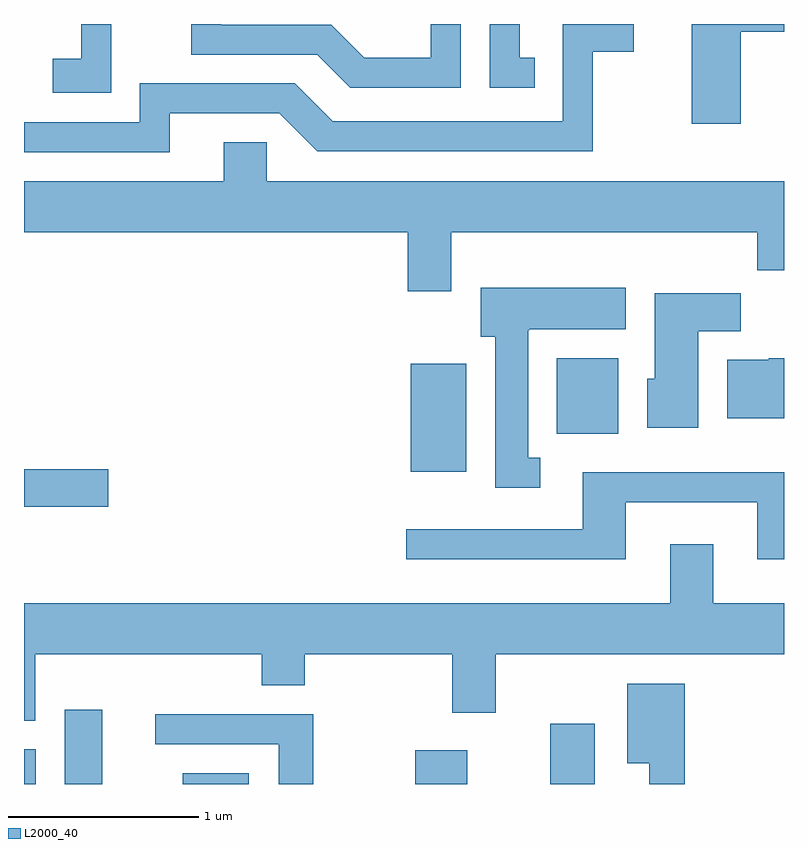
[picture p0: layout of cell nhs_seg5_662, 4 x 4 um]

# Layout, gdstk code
import gdstk
lib = gdstk.Library(unit=1e-6, precision=1e-09)
def R(c, l, rs):  # rectangles x0, y0, x1, y1
    for r in rs: c.add(gdstk.rectangle(r[:2], r[2:], *l))
def P(c, l, *ps):  # polygons
    for p in ps: c.add(gdstk.Polygon(p, *l))
L2000_40 = (2000, 40)

nhs_seg5_662 = lib.new_cell('nhs_seg5_662')
R(nhs_seg5_662, L2000_40, [(203.611,1496.072,203.674,1496.254), (203.826,1496.072,204.024,1496.464), (204.446,1496.072,204.794,1496.129), (205.671,1496.072,205.944,1496.249), (206.381,1496.072,206.614,1496.389), (203.611,1497.531,204.054,1497.729), (205.646,1497.716,205.939,1498.284), (206.416,1497.916,206.739,1498.314)])
P(nhs_seg5_662, L2000_40, [(207.384,1500.031),(207.611,1500.031),(207.611,1500.072),(207.126,1500.072),(207.126,1499.546),(207.384,1499.546)],
  [(206.298,1499.894),(206.219,1499.894),(206.219,1500.072),(206.061,1500.072),(206.061,1499.736),(206.298,1499.736)],
  [(204.379,1499.601),(204.954,1499.601),(205.154,1499.401),(206.604,1499.401),(206.604,1499.926),(206.819,1499.926),(206.819,1500.072),(206.446,1500.072),(206.446,1499.559),(205.237,1499.559),(205.037,1499.759),(204.221,1499.759),(204.221,1499.554),(203.611,1499.554),(203.611,1499.396),(204.379,1499.396)],
  [(205.909,1500.072),(205.751,1500.072),(205.751,1499.894),(205.402,1499.894),(205.227,1500.069),(204.649,1500.069),(204.649,1500.072),(204.491,1500.072),(204.491,1499.911),(205.154,1499.911),(205.329,1499.736),(205.909,1499.736)],
  [(204.069,1500.072),(203.911,1500.072),(203.911,1499.889),(203.761,1499.889),(203.761,1499.711),(204.069,1499.711)],
  [(205.859,1498.976),(207.471,1498.976),(207.471,1498.776),(207.611,1498.776),(207.611,1499.244),(204.889,1499.244),(204.889,1499.449),(204.661,1499.449),(204.661,1499.244),(203.611,1499.244),(203.611,1498.976),(205.631,1498.976),(205.631,1498.666),(205.859,1498.666)],
  [(206.328,1497.789),(206.264,1497.789),(206.264,1498.46),(206.27,1498.46),(206.27,1498.466),(206.779,1498.466),(206.779,1498.684),(206.016,1498.684),(206.016,1498.426),(206.091,1498.426),(206.091,1497.631),(206.328,1497.631)],
  [(207.159,1498.456),(207.384,1498.456),(207.384,1498.654),(206.931,1498.654),(206.931,1498.204),(206.891,1498.204),(206.891,1497.946),(207.159,1497.946)],
  [(207.611,1498.314),(207.53,1498.314),(207.53,1498.304),(207.311,1498.304),(207.311,1497.996),(207.611,1497.996)],
  [(206.779,1497.556),(207.471,1497.556),(207.471,1497.256),(207.611,1497.256),(207.611,1497.714),(206.551,1497.714),(206.551,1497.414),(205.623,1497.414),(205.623,1497.256),(206.779,1497.256)],
  [(203.669,1496.756),(204.861,1496.756),(204.861,1496.591),(205.089,1496.591),(205.089,1496.756),(205.866,1496.756),(205.866,1496.446),(206.094,1496.446),(206.094,1496.756),(207.611,1496.756),(207.611,1497.024),(207.239,1497.024),(207.239,1497.334),(207.011,1497.334),(207.011,1497.024),(203.611,1497.024),(203.611,1496.406),(203.669,1496.406)],
  [(207.089,1496.599),(206.786,1496.599),(206.786,1496.181),(206.901,1496.181),(206.901,1496.072),(207.089,1496.072)],
  [(205.134,1496.439),(204.303,1496.439),(204.303,1496.281),(204.951,1496.281),(204.951,1496.072),(205.134,1496.072)])

lib.write_gds('nhs_seg5_662.gds')
